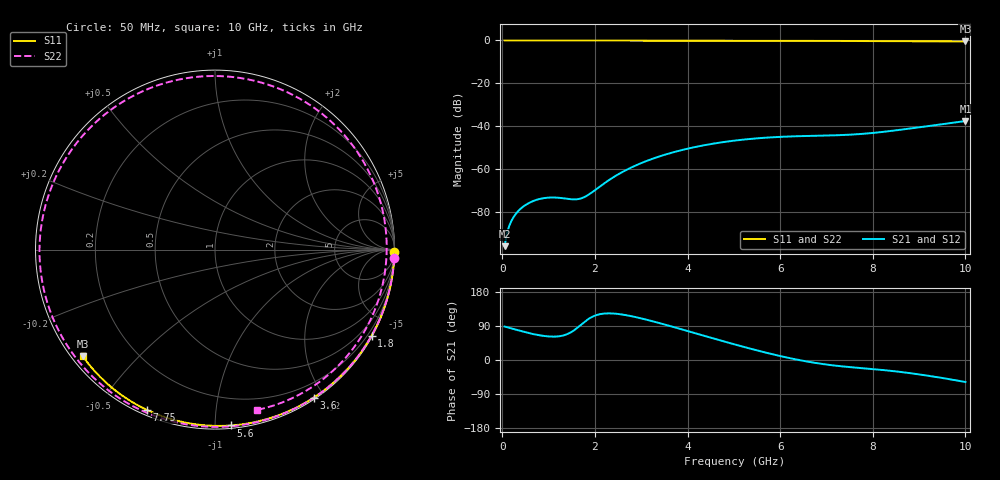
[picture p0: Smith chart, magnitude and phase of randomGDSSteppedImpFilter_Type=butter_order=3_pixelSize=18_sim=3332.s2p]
! freq	dB(S11)	phase(S11)	dB(S12)	phase(S12)
!  dB(S21)	phase(S21)	dB(S22)	phase(S22)
!S-par simulation data
#  GHz  S  DB  R 50
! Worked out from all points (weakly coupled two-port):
!   200 points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, 50 MHz to 10 GHz, reference 50 ohm
!   highest |S21| = -37.61 dB at 10 GHz (marker M1); lowest = -96.0 dB at 50 MHz (marker M2)
!   lowest |S11| = -0.5 dB at 10 GHz (marker M3), VSWR 36.39, Z = 1.55 - j17.7 ohm
!   |S11| at or under -10 dB: nowhere
!   |S22| runs from -0.7 to 0.0 dB; largest |S21 - S12| = 0
!   S11 on the Smith chart (normalised r, x): 50 MHz: open; 1.8 GHz: 0.03, -3.89; 3.6 GHz: 0.02, -1.87; 5.6 GHz: 0.02, -1.10; 7.75 GHz: 0.02, -0.66; 10 GHz: 0.03, -0.35
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0.05  -0.00 -0.8  -95.99 88.3  -95.99 88.3  -0.00 -2.7
0.3  -0.01 -4.9  -80.71 79.9  -80.71 79.9  -0.02 -16.3
0.65  -0.01 -10.5  -75.08 68.8  -75.08 68.8  -0.05 -35.1
0.95  -0.02 -15.4  -73.42 62.7  -73.42 62.7  -0.06 -50.9
1.35  -0.03 -21.7  -73.74 66.0  -73.74 66.0  -0.09 -71.4
1.75  -0.04 -28.1  -73.30 98.1  -73.30 98.1  -0.11 -91.2
1.8  -0.04 -28.9  -72.78 103.0  -72.78 103.0  -0.11 -93.6
2.2  -0.04 -35.1  -66.70 122.6  -66.70 122.6  -0.13 -112.7
2.65  -0.05 -42.0  -60.74 118.8  -60.74 118.8  -0.15 -133.4
3.05  -0.06 -48.1  -56.79 108.3  -56.79 108.3  -0.17 -151.4
3.4  -0.07 -53.4  -54.06 97.2  -54.06 97.2  -0.18 -166.9
3.6  -0.08 -56.3  -52.74 90.4  -52.74 90.4  -0.19 -175.7
4.3  -0.09 -66.6  -49.14 66.0  -49.14 66.0  -0.22 153.4
5.05  -0.12 -77.2  -46.64 40.0  -46.64 40.0  -0.26 120.0
5.6  -0.14 -84.7  -45.51 22.2  -45.51 22.2  -0.28 95.1
6.15  -0.16 -92.2  -44.85 6.4  -44.85 6.4  -0.31 70.2
6.7  -0.19 -99.4  -44.51 -6.5  -44.51 -6.5  -0.33 45.7
7.25  -0.23 -106.5  -44.21 -15.7  -44.21 -15.7  -0.35 22.0
7.75  -0.26 -112.9  -43.63 -21.4  -43.63 -21.4  -0.38 1.6
8.35  -0.31 -120.5  -42.34 -28.1  -42.34 -28.1  -0.43 -21.2
9.2  -0.39 -131.1  -39.96 -41.6  -39.96 -41.6  -0.54 -50.5
10  -0.48 -141.0  -37.61 -58.1  -37.61 -58.1  -0.69 -75.3
